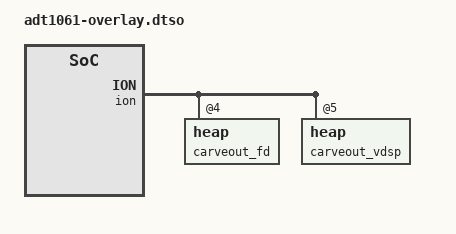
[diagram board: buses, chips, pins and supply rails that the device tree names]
/dts-v1/;
/plugin/;

&reserved_memory {
	fd_reserved: faceid-mem@efaae000 {
		reg = <0x0 0xefaae000 0x0 0x00f00000>;
	};

	vdsp_reserved: vdsp-mem@f09ae000 {
		reg = <0x0 0xf09ae000 0x0 0x03700000>;
	};
};

&ion {
	heap@4 {
		reg = <4>;
		label = "carveout_fd";
		type = <2>;
		memory-region = <&fd_reserved>;
	};

	heap@5 {
		reg = <5>;
		label = "carveout_vdsp";
		type = <2>;
		memory-region = <&vdsp_reserved>;
	};
};

&ddr_dfs {
	sprd-scene = "boost", "lcdon", "lcdoff", "camlow",
		"camhigh", "camveryhigh", "faceid";
	sprd-freq = <1333 768 256 384 512 1333 1333>;
};
